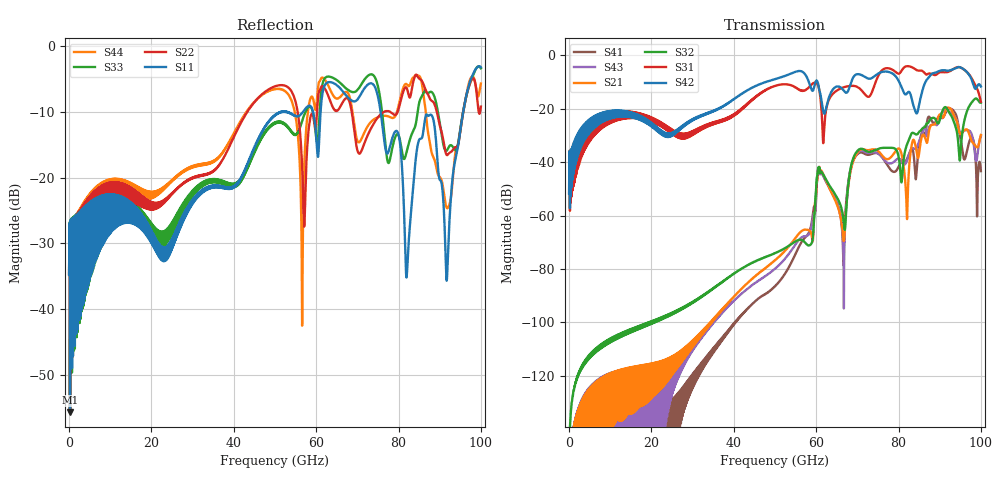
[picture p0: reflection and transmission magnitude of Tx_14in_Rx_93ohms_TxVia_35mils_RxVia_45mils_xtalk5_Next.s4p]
! Info: Touchstone file created by Circ.  Input file=Tx_14in_Rx_93ohms_TxVia_35mils_RxVia_45mils.circ
# Hz S RI R 50
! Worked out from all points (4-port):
!   10000 points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, 10 MHz to 100 GHz, reference 50 ohm
!   strongest paths, dB at 10 MHz, 25.01 GHz, 50.01 GHz, 75.01 GHz, 100 GHz:
!     S42: -51.7, -28.9, -8.9, -6.9, -11.7
!     S31: -51.7, -27.8, -11.4, -7.9, -17.3
!     S32: -162.5, -96.4, -74.1, -35.0, -17.7
!     S21: -176.0, -115.1, -76.8, -35.8, -29.8
!     S43: -176.0, -116.4, -79.9, -36.7, -30.2
!     S41: -181.8, -136.2, -86.4, -36.8, -43.4
!   lowest |S11| = -55.6 dB at 230 MHz (marker M1), VSWR 1.00, Z = 49.8 + j0.0088 ohm
!   |S11| at or under -10 dB: start of sweep to 51.73 GHz; 52.72 GHz to 56.87 GHz (4.148 GHz wide, 7.57 % of centre); 75.64 GHz to 95.73 GHz (20.08 GHz wide, 23.4 % of centre) (the widest 3 of 8)
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1e7  0.0182 -0.00208  9.56e-10 1.26e-09  0.00056 0.00254  6.12e-10 5.37e-10
     9.56e-10 1.26e-09  0.0185 -0.00213  3.47e-09 6.67e-09  0.000554 0.00253
     0.00056 0.00254  3.47e-09 6.67e-09  0.0186 -0.00214  9.38e-10 1.28e-09
     6.12e-10 5.37e-10  0.000554 0.00253  9.38e-10 1.28e-09  0.0182 -0.00212
2.3e8  -0.00166 8.83e-05  6.55e-09 2.23e-08  0.00172 0.00488  3.53e-09 1.06e-08
       6.55e-09 2.23e-08  -0.00175 0.000198  1.81e-08 1.14e-07  0.00169 0.00491
       0.00172 0.00488  1.81e-08 1.14e-07  -0.00161 0.000246  6.57e-09 2.26e-08
       3.53e-09 1.06e-08  0.00169 0.00491  6.57e-09 2.26e-08  -0.00171 0.000349
5.838e10  0.3461 0.0485  -0.000281 0.000442  0.1332 -0.2233  0.000173 0.000477
          -0.000281 0.000442  0.2577 0.0455  -2.4e-05 0.000277  -0.2175 0.195
          0.1332 -0.2233  -2.4e-05 0.000277  0.3169 0.1346  0.000232 0.000406
          0.000173 0.000477  -0.2175 0.195  0.000232 0.000406  0.3567 0.119
6.076e10  0.1566 0.1282  -0.00706 0.00411  -0.2169 -0.0602  -0.00726 0.00298
          -0.00706 0.00411  0.4316 -0.1378  -0.00677 0.00415  0.0297 0.2221
          -0.2169 -0.0602  -0.00677 0.00415  0.1857 0.2103  -0.00702 0.00334
          -0.00726 0.00298  0.0297 0.2221  -0.00702 0.00334  0.5073 -0.1652
6.661e10  0.2199 -0.3867  -3.94e-05 0.00036  -0.2483 -0.04  2e-06 0.000125
          -3.94e-05 0.00036  -0.0951 -0.367  -0.000861 -5.91e-06  0.1352 0.1788
          -0.2483 -0.04  -0.000861 -5.91e-06  0.282 -0.4071  -0.000202 9.04e-05
          2e-06 0.000125  0.1352 0.1788  -0.000202 9.04e-05  -0.1579 -0.404
9.174e10  0.0165 -0.00317  -0.1019 0.0136  0.4034 -0.2686  0.0321 0.0874
          -0.1019 0.0136  0.1438 0.0344  -0.0432 -0.0906  0.4114 -0.3106
          0.4034 -0.2686  -0.0432 -0.0906  0.158 0.027  -0.0893 0.0284
          0.0321 0.0874  0.4114 -0.3106  -0.0893 0.0284  0.0574 0.0123
1e11  -0.5636 0.3916  0.000566 -0.0324  0.0759 0.1127  -0.00623 0.00272
      0.000566 -0.0324  -0.3431 0.0353  0.1025 0.0801  0.0181 0.2604
      0.0759 0.1127  0.1025 0.0801  -0.5625 0.3695  -0.0254 -0.0174
      -0.00623 0.00272  0.0181 0.2604  -0.0254 -0.0174  -0.5103 0.0764
